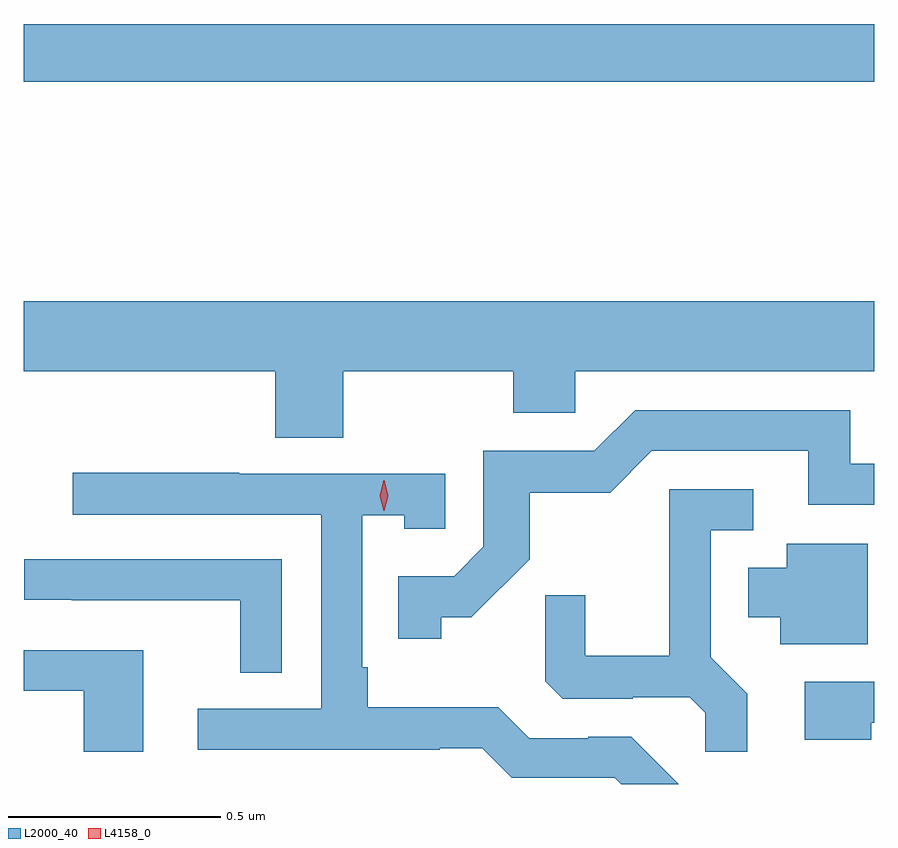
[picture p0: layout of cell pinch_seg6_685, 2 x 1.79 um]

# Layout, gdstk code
import gdstk
lib = gdstk.Library(unit=1e-6, precision=1e-09)
def R(c, l, rs):  # rectangles x0, y0, x1, y1
    for r in rs: c.add(gdstk.rectangle(r[:2], r[2:], *l))
def P(c, l, *ps):  # polygons
    for p in ps: c.add(gdstk.Polygon(p, *l))
L2000_40 = (2000, 40)
L4158_0 = (4158, 0)

pinch_seg6_685 = lib.new_cell('pinch_seg6_685')
R(pinch_seg6_685, L2000_40, [(390.65,918.712,392.65,918.848)])
P(pinch_seg6_685, L2000_40, [(391.401,918.032),(391.801,918.032),(391.801,917.934),(391.947,917.934),(391.947,918.032),(392.65,918.032),(392.65,918.196),(390.65,918.196),(390.65,918.032),(391.241,918.032),(391.241,917.875),(391.401,917.875)],
  [(391.632,917.453),(391.702,917.453),(391.84,917.59),(391.84,917.746),(392.029,917.746),(392.127,917.844),(392.495,917.844),(392.495,917.718),(392.65,917.718),(392.65,917.814),(392.594,917.814),(392.594,917.94),(392.088,917.94),(391.992,917.844),(391.731,917.844),(391.731,917.619),(391.662,917.55),(391.531,917.55),(391.531,917.403),(391.632,917.403)],
  [(392.079,917.172),(391.978,917.172),(391.978,917.169),(391.839,917.169),(391.766,917.242),(391.459,917.242),(391.459,917.335),(391.446,917.335),(391.446,917.693),(391.545,917.693),(391.545,917.661),(391.641,917.661),(391.641,917.79),(391.157,917.79),(391.157,917.793),(390.765,917.793),(390.765,917.694),(391.35,917.694),(391.35,917.238),(391.059,917.238),(391.059,917.142),(391.628,917.142),(391.628,917.145),(391.728,917.145),(391.797,917.076),(392.04,917.076),(392.055,917.061),(392.19,917.061)],
  [(392.351,917.273),(392.265,917.359),(392.265,917.658),(392.365,917.658),(392.365,917.754),(392.168,917.754),(392.168,917.362),(391.97,917.362),(391.97,917.505),(391.876,917.505),(391.876,917.303),(391.917,917.262),(392.082,917.262),(392.082,917.265),(392.216,917.265),(392.253,917.228),(392.253,917.137),(392.351,917.137)],
  [(392.635,917.626),(392.444,917.626),(392.444,917.569),(392.354,917.569),(392.354,917.453),(392.429,917.453),(392.429,917.39),(392.635,917.39)],
  [(391.257,917.589),(390.651,917.589),(390.651,917.494),(390.763,917.494),(390.763,917.493),(391.159,917.493),(391.159,917.323),(391.257,917.323)],
  [(390.931,917.376),(390.65,917.376),(390.65,917.28),(390.791,917.28),(390.791,917.137),(390.931,917.137)],
  [(392.643,917.205),(392.65,917.205),(392.65,917.301),(392.487,917.301),(392.487,917.165),(392.643,917.165)])
P(pinch_seg6_685, L4158_0, [(391.497,917.703),(391.497,917.703),(391.487,917.739),(391.497,917.775),(391.497,917.775),(391.498,917.775),(391.507,917.739),(391.498,917.703)])

lib.write_gds('pinch_seg6_685.gds')
